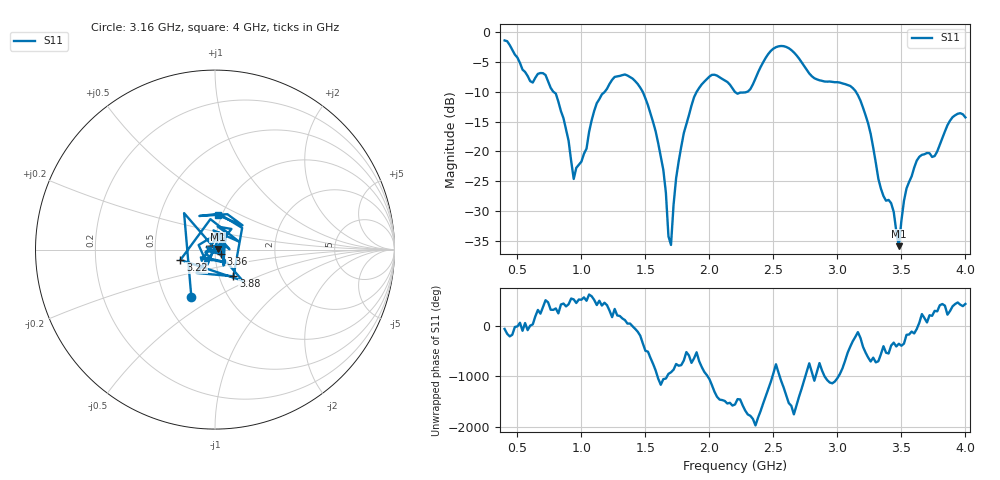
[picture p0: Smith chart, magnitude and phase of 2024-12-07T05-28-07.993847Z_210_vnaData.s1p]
!Created with skrf (http://scikit-rf.org).
# Hz S RI R 50.0
!freq ReS11 ImS11
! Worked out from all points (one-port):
!   181 points, 400 MHz to 4 GHz, reference 50 ohm
!   lowest |S11| = -35.8 dB at 3.48 GHz (marker M1), VSWR 1.03, Z = 51.6 + j0.333 ohm
!   |S11| at or under -10 dB: 779.8 MHz to 1.183 GHz (403.3 MHz wide, 41.1 % of centre); 1.478 GHz to 1.901 GHz (422.8 MHz wide, 25 % of centre); 3.144 GHz to end of sweep (the widest 3 of 4)
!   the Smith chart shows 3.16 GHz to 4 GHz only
!   S11 on the Smith chart (normalised r, x): 3.16 GHz: 0.68, -0.39; 3.22 GHz: 0.67, -0.08; 3.36 GHz: 1.07, -0.05; 3.88 GHz: 1.17, -0.36; 4 GHz: 0.96, +0.38
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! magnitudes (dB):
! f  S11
! 400 MHz  -1.4
! 600 MHz  -8.2
! 720 MHz  -7.2
! 860 MHz  -14.4
! 940 MHz  -24.6
! 1.12 GHz  -11.9
! 1.3 GHz  -7.4
! 1.44 GHz  -8.7
! 1.56 GHz  -15.1
! 1.64 GHz  -23.1
! 1.68 GHz  -34.2
! 1.7 GHz  -35.6
! 1.76 GHz  -21.7
! 1.94 GHz  -8.8
! 2.2 GHz  -10.1
! 2.32 GHz  -9.6
! 2.5 GHz  -2.8
! 2.66 GHz  -3.4
! 2.82 GHz  -7.8
! 3.1 GHz  -9.0
! 3.16 GHz  -10.6
! 3.22 GHz  -13.9
! 3.36 GHz  -27.5
! 3.42 GHz  -28.7
! 3.48 GHz  -35.8
! 3.56 GHz  -25.1
! 3.88 GHz  -14.8
! 4 GHz  -14.3
